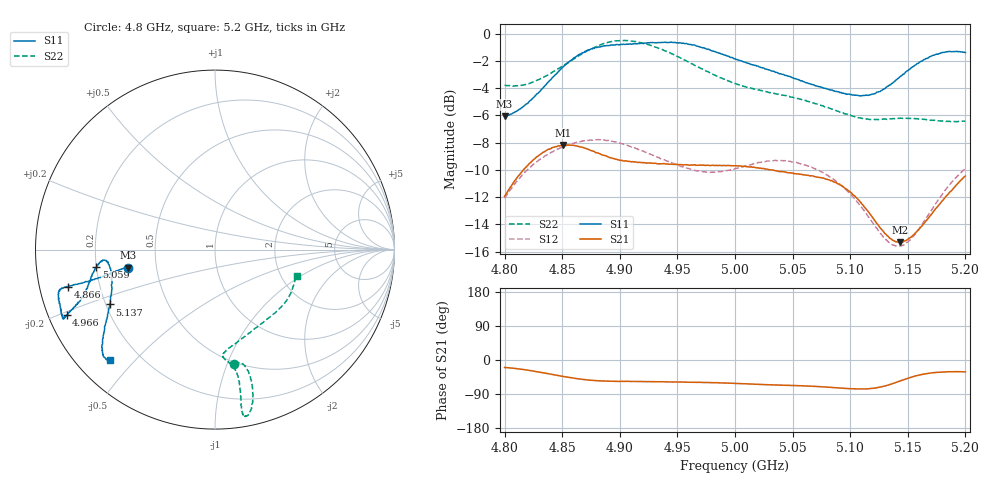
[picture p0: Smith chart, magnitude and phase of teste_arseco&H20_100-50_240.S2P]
! Network Analyzer HP8722D
! Hewlett-Packard
! Data name: Linha & Wilkinson
! Saver's name: Rodrigo Anjos
! Comments: Teste da utilização de aquisição
! continua pelo VNA HP8722D
! Time and date: 6/5/2025 14:34
!  Frequency  S11  S21  S12  S22
# HZ  S  MA R 50
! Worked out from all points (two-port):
!   401 points, 4.8 GHz to 5.2 GHz, reference 50 ohm
!   highest |S21| = -8.17 dB at 4.851 GHz (marker M1); lowest = -15.3 dB at 5.143 GHz (marker M2)
!   |S21| within 3 dB of the highest: 4.806 GHz to 5.093 GHz (286.7 MHz wide, 5.79 % of centre); 5.191655 GHz to end of sweep
!   lowest |S11| = -6.1 dB at 4.8 GHz (marker M3), VSWR 2.98, Z = 17 - j4.56 ohm
!   |S11| at or under -10 dB: nowhere
!   |S22| runs from -6.5 to -0.5 dB; largest |S21 - S12| = 0.62
!   S11 on the Smith chart (normalised r, x): 4.8 GHz: 0.34, -0.09; 4.866 GHz: 0.09, -0.12; 4.966 GHz: 0.05, -0.21; 5.059 GHz: 0.20, -0.07; 5.137 GHz: 0.22, -0.23; 5.2 GHz: 0.09, -0.43
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4.8e9  0.497 -168.2  0.2526 -19.7  0.2486 -141.0  0.6476 -80.4
4.823e9  0.5707 -167.5  0.3377 -28.2  0.3252 -143.8  0.6602 -76.0
4.851e9  0.7569 -165.9  0.3905 -43.5  0.3844 -149.4  0.7652 -74.6
4.866e9  0.8419 -165.9  0.3835 -50.3  0.4019 -151.9  0.837 -75.3
4.867e9  0.8499 -165.8  0.3835 -50.9  0.4027 -152.1  0.8443 -75.5
4.88e9  0.8897 -165.5  0.3654 -54.6  0.408 -154.2  0.8995 -76.8
4.899e9  0.9109 -162.8  0.3442 -56.5  0.3979 -156.8  0.9427 -79.1
4.934e9  0.9281 -156.5  0.3326 -57.5  0.3509 -155.7  0.883 -80.5
4.966e9  0.9035 -156.2  0.3288 -58.8  0.3139 -148.4  0.7623 -79.7
5e9  0.8091 -159.1  0.3276 -61.8  0.3196 -137.3  0.6566 -81.2
5.035e9  0.7222 -165.4  0.3142 -65.9  0.343 -134.4  0.6024 -85.7
5.059e9  0.6682 -171.6  0.3034 -68.3  0.3317 -136.1  0.5716 -84.4
5.067e9  0.6507 -173.0  0.3005 -69.2  0.323 -136.8  0.5583 -82.7
5.086e9  0.6165 -174.6  0.2851 -72.9  0.2912 -138.5  0.5255 -75.4
5.103e9  0.5957 -171.4  0.2553 -76.2  0.2497 -138.7  0.4975 -65.2
5.117e9  0.5959 -164.9  0.2184 -75.5  0.209 -135.0  0.4842 -55.0
5.134e9  0.6472 -154.3  0.1777 -65.1  0.1708 -120.6  0.4869 -43.2
5.137e9  0.6603 -152.4  0.1742 -62.3  0.1675 -116.8  0.4878 -41.5
5.143e9  0.6931 -149.2  0.1711 -55.8  0.166 -108.9  0.4889 -38.0
5.154e9  0.7554 -144.4  0.181 -44.4  0.1787 -95.1  0.4886 -32.2
5.173e9  0.8344 -138.9  0.224 -33.4  0.2333 -80.9  0.481 -24.2
5.2e9  0.8524 -133.6  0.3001 -31.5  0.3193 -77.0  0.4774 -17.6
